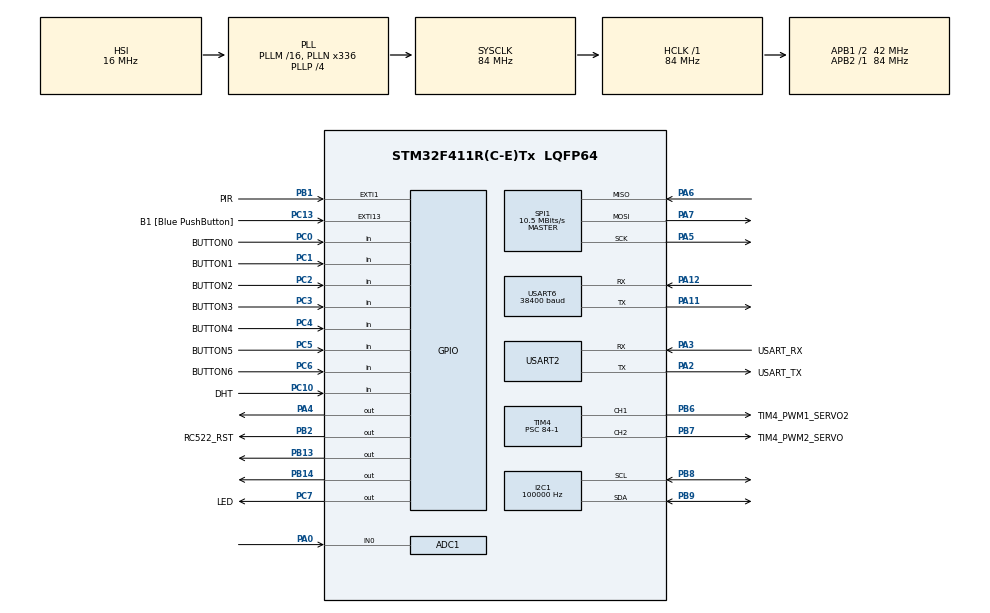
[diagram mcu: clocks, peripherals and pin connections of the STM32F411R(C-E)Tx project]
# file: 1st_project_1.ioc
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ADC1.Channel-1\#ChannelRegularConversion=ADC_CHANNEL_0
ADC1.ClockPrescaler=ADC_CLOCK_SYNC_PCLK_DIV6
ADC1.NbrOfConversion=1
ADC1.NbrOfConversionFlag=1
ADC1.Rank-1\#ChannelRegularConversion=1
ADC1.SamplingTime-1\#ChannelRegularConversion=ADC_SAMPLETIME_84CYCLES
ADC1.ScanConvMode=DISABLE
ADC1.master=1
I2C1.ClockSpeed=100000
Mcu.Family=STM32F4
Mcu.Name=STM32F411R(C-E)Tx
Mcu.Package=LQFP64
NVIC.ADC_IRQn=true\:0\:0\:false\:false\:true\:true\:true\:true
NVIC.EXTI1_IRQn=true\:0\:0\:false\:false\:true\:true\:true\:true
NVIC.PriorityGroup=NVIC_PRIORITYGROUP_0
NVIC.TIM3_IRQn=true\:0\:0\:false\:false\:true\:true\:true\:true
NVIC.TIM4_IRQn=true\:0\:0\:false\:false\:true\:true\:true\:true
NVIC.USART6_IRQn=true\:0\:0\:false\:false\:true\:true\:true\:true
PA0-WKUP.Signal=ADCx_IN0
PA10.Signal=USART1_RX
PA11.Mode=Asynchronous
PA11.Signal=USART6_TX
PA12.Mode=Asynchronous
PA12.Signal=USART6_RX
PA13.GPIO_Label=TMS
PA13.Mode=Serial_Wire
PA13.Signal=SYS_JTMS-SWDIO
PA14.GPIO_Label=TCK
PA14.Mode=Serial_Wire
PA14.Signal=SYS_JTCK-SWCLK
PA2.GPIO_Label=USART_TX
PA2.Mode=Asynchronous
PA2.Signal=USART2_TX
PA3.GPIO_Label=USART_RX
PA3.Mode=Asynchronous
PA3.Signal=USART2_RX
PA4.Signal=GPIO_Output
PA5.Mode=Full_Duplex_Master
PA5.Signal=SPI1_SCK
PA6.Mode=Full_Duplex_Master
PA6.Signal=SPI1_MISO
PA7.Mode=Full_Duplex_Master
PA7.Signal=SPI1_MOSI
PA9.Signal=USART1_TX
PB1.GPIO_Label=PIR
PB1.Signal=GPXTI1
PB13.Signal=GPIO_Output
PB14.Signal=GPIO_Output
PB2.GPIO_Label=RC522_RST
PB2.Signal=GPIO_Output
PB3.GPIO_Label=SWO
PB3.Signal=SYS_JTDO-SWO
PB6.GPIO_Label=TIM4_PWM1_SERVO2
PB6.Signal=S_TIM4_CH1
PB7.GPIO_Label=TIM4_PWM2_SERVO
PB7.Signal=S_TIM4_CH2
PB8.Mode=I2C
PB8.Signal=I2C1_SCL
PB9.Mode=I2C
PB9.Signal=I2C1_SDA
PC0.GPIO_Label=BUTTON0
PC0.Signal=GPIO_Input
PC1.GPIO_Label=BUTTON1
PC1.Signal=GPIO_Input
PC10.GPIO_Label=DHT
PC10.Signal=GPIO_Input
PC13-ANTI_TAMP.GPIO_Label=B1 [Blue PushButton]
PC13-ANTI_TAMP.GPIO_ModeDefaultEXTI=GPIO_MODE_IT_FALLING
PC13-ANTI_TAMP.Signal=GPXTI13
PC14-OSC32_IN.Signal=RCC_OSC32_IN
PC15-OSC32_OUT.Signal=RCC_OSC32_OUT
PC2.GPIO_Label=BUTTON2
PC2.Signal=GPIO_Input
PC3.GPIO_Label=BUTTON3
PC3.Signal=GPIO_Input
PC4.GPIO_Label=BUTTON4
PC4.Signal=GPIO_Input
PC5.GPIO_Label=BUTTON5
PC5.Signal=GPIO_Input
PC6.GPIO_Label=BUTTON6
PC6.Signal=GPIO_Input
PC7.GPIO_Label=LED
PC7.Signal=GPIO_Output
PH0\ -\ OSC_IN.Mode=HSE-External-Oscillator
PH0\ -\ OSC_IN.Signal=RCC_OSC_IN
PH1\ -\ OSC_OUT.Mode=HSE-External-Oscillator
PH1\ -\ OSC_OUT.Signal=RCC_OSC_OUT
ProjectManager.HeapSize=0x200
ProjectManager.StackSize=0x400
ProjectManager.TargetToolchain=STM32CubeIDE
RCC.48MHZClocksFreq_Value=84000000
RCC.AHBFreq_Value=84000000
RCC.APB1CLKDivider=RCC_HCLK_DIV2
RCC.APB1Freq_Value=42000000
RCC.APB1TimFreq_Value=84000000
RCC.APB2Freq_Value=84000000
RCC.APB2TimFreq_Value=84000000
RCC.CortexFreq_Value=84000000
RCC.FLatency-AdvancedSettings=FLASH_LATENCY_2
RCC.HCLKFreq_Value=84000000
RCC.HSE_VALUE=8000000
RCC.HSI_VALUE=16000000
RCC.LSE_VALUE=32768
RCC.PLLN=336
RCC.PLLP=RCC_PLLP_DIV4
RCC.SYSCLKFreq_VALUE=84000000
RCC.SYSCLKSource=RCC_SYSCLKSOURCE_PLLCLK
RCC.VCOOutputFreq_Value=336000000
SH.ADCx_IN0.0=ADC1_IN0,IN0
SH.S_TIM4_CH1.0=TIM4_CH1,PWM Generation1 CH1
SH.S_TIM4_CH2.0=TIM4_CH2,PWM Generation2 CH2
SPI1.BaudRatePrescaler=SPI_BAUDRATEPRESCALER_8
SPI1.CalculateBaudRate=10.5 MBits/s
SPI1.Direction=SPI_DIRECTION_2LINES
SPI1.Mode=SPI_MODE_MASTER
SPI1.VirtualType=VM_MASTER
TIM3.Period=1000-1
TIM3.Prescaler=84-1
TIM4.Channel-PWM\ Generation1\ CH1=TIM_CHANNEL_1
TIM4.Channel-PWM\ Generation2\ CH2=TIM_CHANNEL_2
TIM4.Period=20000-1
TIM4.Prescaler=84-1
TIM4.Pulse-PWM\ Generation1\ CH1=0
USART2.VirtualMode=VM_ASYNC
USART6.BaudRate=38400
USART6.VirtualMode=VM_ASYNC
VP_TIM3_VS_ClockSourceINT.Mode=Internal
board=NUCLEO-F411RE

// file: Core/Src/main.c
/* USER CODE BEGIN Header */
/* USER CODE END Header */
#include "main.h"

/* USER CODE BEGIN Includes */
#include <stdio.h>
#include <string.h>
#include "clcd.h"
#include "mfrc522.h"
#include "esp.h"
#include "dht.h"

/* USER CODE END Includes */

/* USER CODE BEGIN PD */

#define ROOM_NUMBER "101"
#define USER_ID "JTY"
#define USER_NAME "JEONG"
#define USER_CODE "8315D829"

#ifdef __GNUC__
/* With GCC, small printf (option LD Linker->Libraries->Small printf
 set to 'Yes') calls __io_putchar() */
#define PUTCHAR_PROTOTYPE int __io_putchar(int ch)
#else
#define PUTCHAR_PROTOTYPE int fputc(int ch, FILE *f)
#endif /* __GNUC__ */
#define ARR_CNT 5
#define CMD_SIZE 50
/* USER CODE END PD */

ADC_HandleTypeDef hadc1;

I2C_HandleTypeDef hi2c1;

SPI_HandleTypeDef hspi1;

TIM_HandleTypeDef htim3;
TIM_HandleTypeDef htim4;

UART_HandleTypeDef huart2;
UART_HandleTypeDef huart6;

/* USER CODE BEGIN PV */
int last_door_state = -1;  // 초기값은 존재하지 않는 값으로 설정

// esp
uint8_t rx2char;
extern cb_data_t cb_data;
extern volatile unsigned char rx2Flag;
extern volatile char rx2Data[50];

static int ret = 0;
DHT11_TypeDef dht11Data;
static char buff[30];

// room_info 구조체
typedef struct {
	int room_number;
	char user_name[20];
} ROOM_INFO;

typedef struct {
	char room_status[17]; // IN, LEC, VAC, MTG, BRK, OUT
} ROOM_STATUS;

ROOM_INFO room_info = { 101, "JEONG" };
ROOM_STATUS current_room_status = { "TagCard&PushBTN" };

// button
const uint16_t button_pins[6] = { BUTTON0_Pin, BUTTON1_Pin, BUTTON2_Pin,
BUTTON3_Pin, BUTTON4_Pin, BUTTON5_Pin };
int button_state[6] = { 0 };
int last_button_state[6] = { 0 };
int button_flag[6] = { 0 };

// lcd
char line1[18] = { '\0' };
char line2[18] = { '\0' };

// timer3
static volatile int tim3Flag1Sec = 0;
static volatile unsigned int tim3Sec = 0;
static volatile int tim3Flag5Sec = 0;

// RFID
uint8_t cardID[5];
char uid_str[16];
static volatile int authentication_flag = 0;
static volatile int auth_start_time = -1; // 인증 시작 시점의 tim3Sec 저장

// esp
static int i = 0;
static char *pToken;
static char *pArray[ARR_CNT] = { 0 };
static char sendBuf[MAX_UART_COMMAND_LEN] = { 0 };

typedef struct {
	char *client;
	char *door;
} BUFFF;

static BUFFF ppAArray = { 0 };

typedef struct {
	char *cclient;
	char *ssetroom;
	char *rroom;
	char *sstatus;
} BBUFFF;

static BBUFFF pppAAArray = { 0 };

// SERVO(DOOR LOCK)
int door_pulse = 0;
int door_state;  // 1: unlock 0: lock

// pir
static volatile int pir_flag = 0;

// dht
static int last_fanFlag = 0;
static int fanFlag = 0;

// ADC servo2
__IO uint16_t ADC1ConvertValue = 0;
__IO uint16_t adcFlag = 0;
static int curtainFlag = 0;
static int last_curtainFlag = 0;
static int curtain_pulse = 0;

// DHT
static char dhtbuff[30];
static int last_checked_sec = 0;
DHT11_TypeDef dht11Data;
/* USER CODE END PV */

void SystemClock_Config(void);
static void MX_GPIO_Init(void);
static void MX_USART2_UART_Init(void);
static void MX_ADC1_Init(void);
static void MX_TIM3_Init(void);
static void MX_USART6_UART_Init(void);
static void MX_I2C1_Init(void);
static void MX_SPI1_Init(void);
static void MX_TIM4_Init(void);
/* USER CODE BEGIN PFP */
// authenicatin timeout
void authentication_timeout();
// detect
void detect();

// ESP
void esp_init();

char strBuff[MAX_ESP_COMMAND_LEN];

void room_status_set();
void room_status_display();
void user_authentication();

void esp_event(char*);

void PIR_Init(void);

//dht
void dht_status_motor();

//cds
void cds_status_servo();
/* USER CODE END PFP */

int main(void) {

	/* USER CODE BEGIN 1 */
	// SERVO
	/* USER CODE END 1 */

	/* MCU Configuration--------------------------------------------------------*/

	/* Reset of all peripherals, Initializes the Flash interface and the Systick. */
	HAL_Init();

	/* Configure the system clock */
	SystemClock_Config();

	/* Initialize all configured peripherals */
	MX_GPIO_Init();
	MX_USART2_UART_Init();
	MX_ADC1_Init();
	MX_TIM3_Init();
	MX_USART6_UART_Init();
	MX_I2C1_Init();
	MX_SPI1_Init();
	MX_TIM4_Init();
	/* USER CODE BEGIN 2 */

	// TIMER 4
	if (HAL_TIM_Base_Start_IT(&htim4) != HAL_OK)
		Error_Handler();
	if (HAL_TIM_PWM_Start(&htim4, TIM_CHANNEL_1) != HAL_OK)
		Error_Handler();
	if (HAL_TIM_PWM_Start(&htim4, TIM_CHANNEL_2) != HAL_OK)
		Error_Handler();

	// ESP
	printf("Start main() - wifi\r\n");
	ret |= drv_uart_init();
	ret |= drv_esp_init();
	if (ret != 0) {
		printf("Esp response error\r\n");
		Error_Handler();
	}

	AiotClient_Init();
	// DHT
	DHT11_Init();

	if (HAL_TIM_Base_Start_IT(&htim3) != HAL_OK)
		Error_Handler();
	// LCD
	LCD_init(&hi2c1);
	LCD_writeStringXY(0, 0, "hello lcd");

	// RFID
	MFRC522_Init();                               // RC522 초기화
	uint8_t version = MFRC522_ReadRegister(0x37); // VersionReg
	printf("RC522 Version: 0x%02X\r\n", version);
	printf("카드를 인식해주세요\r\n");

	//PIR
	PIR_Init();

	//ADC
	if (HAL_ADC_Start_IT(&hadc1) != HAL_OK)
		Error_Handler();

	/* USER CODE END 2 */

	/* Infinite loop */
	/* USER CODE BEGIN WHILE */
	while (1) {
		if (strstr((char*) cb_data.buf, "+IPD")
				&& cb_data.buf[cb_data.length - 1] == '\n') {
			//?��?��?���??  \r\n+IPD,15:[KSH_LIN]HELLO\n
			strcpy(strBuff, strchr((char*) cb_data.buf, '['));
			memset(cb_data.buf, 0x0, sizeof(cb_data.buf));
			cb_data.length = 0;
			esp_event(strBuff);
		}
		if (rx2Flag) {
			printf("recv2 : %s\r\n", rx2Data);
			rx2Flag = 0;
		}

		room_status_display();
		user_authentication();
		authentication_timeout();

		if (door_state != last_door_state) {
			if (door_state == 1) {
				door_pulse = 1500;
				printf("UNLOCK!!\r\n");
			} else {
				door_pulse = 500;
				printf("LOCK!!\r\n");
			}
			last_door_state = door_state;
		}
		__HAL_TIM_SetCompare(&htim4, TIM_CHANNEL_2, door_pulse - 1);

		room_status_set();
		detect();

		// DHT, DC
		if (door_state == 1) {

			if (tim3Sec % 5 == 0 && tim3Sec != last_checked_sec) //5초에 한번 실행되게
					{
				dht_status_motor(); // 한번 실행
				cds_status_servo();
				last_checked_sec = tim3Sec; // 재실행 방지용
			}
		}
	}
	/* USER CODE END WHILE */

}

void SystemClock_Config(void) {
	RCC_OscInitTypeDef RCC_OscInitStruct = { 0 };
	RCC_ClkInitTypeDef RCC_ClkInitStruct = { 0 };

	/** Configure the main internal regulator output voltage
	 */
	__HAL_RCC_PWR_CLK_ENABLE();
	__HAL_PWR_VOLTAGESCALING_CONFIG(PWR_REGULATOR_VOLTAGE_SCALE1);

	/** Initializes the RCC Oscillators according to the specified parameters
	 * in the RCC_OscInitTypeDef structure.
	 */
	RCC_OscInitStruct.OscillatorType = RCC_OSCILLATORTYPE_HSI;
	RCC_OscInitStruct.HSIState = RCC_HSI_ON;
	RCC_OscInitStruct.HSICalibrationValue = RCC_HSICALIBRATION_DEFAULT;
	RCC_OscInitStruct.PLL.PLLState = RCC_PLL_ON;
	RCC_OscInitStruct.PLL.PLLSource = RCC_PLLSOURCE_HSI;
	RCC_OscInitStruct.PLL.PLLM = 16;
	RCC_OscInitStruct.PLL.PLLN = 336;
	RCC_OscInitStruct.PLL.PLLP = RCC_PLLP_DIV4;
	RCC_OscInitStruct.PLL.PLLQ = 4;
	if (HAL_RCC_OscConfig(&RCC_OscInitStruct) != HAL_OK) {
		Error_Handler();
	}

	/** Initializes the CPU, AHB and APB buses clocks
	 */
	RCC_ClkInitStruct.ClockType = RCC_CLOCKTYPE_HCLK | RCC_CLOCKTYPE_SYSCLK
			| RCC_CLOCKTYPE_PCLK1 | RCC_CLOCKTYPE_PCLK2;
	RCC_ClkInitStruct.SYSCLKSource = RCC_SYSCLKSOURCE_PLLCLK;
	RCC_ClkInitStruct.AHBCLKDivider = RCC_SYSCLK_DIV1;
	RCC_ClkInitStruct.APB1CLKDivider = RCC_HCLK_DIV2;
	RCC_ClkInitStruct.APB2CLKDivider = RCC_HCLK_DIV1;

	if (HAL_RCC_ClockConfig(&RCC_ClkInitStruct, FLASH_LATENCY_2) != HAL_OK) {
		Error_Handler();
	}
}

static void MX_ADC1_Init(void) {

	ADC_ChannelConfTypeDef sConfig = { 0 };

	/** Configure the global features of the ADC (Clock, Resolution, Data Alignment and number of conversion)
	 */
	hadc1.Instance = ADC1;
	hadc1.Init.ClockPrescaler = ADC_CLOCK_SYNC_PCLK_DIV6;
	hadc1.Init.Resolution = ADC_RESOLUTION_12B;
	hadc1.Init.ScanConvMode = DISABLE;
	hadc1.Init.ContinuousConvMode = DISABLE;
	hadc1.Init.DiscontinuousConvMode = DISABLE;
	hadc1.Init.ExternalTrigConvEdge = ADC_EXTERNALTRIGCONVEDGE_NONE;
	hadc1.Init.ExternalTrigConv = ADC_SOFTWARE_START;
	hadc1.Init.DataAlign = ADC_DATAALIGN_RIGHT;
	hadc1.Init.NbrOfConversion = 1;
	hadc1.Init.DMAContinuousRequests = DISABLE;
	hadc1.Init.EOCSelection = ADC_EOC_SINGLE_CONV;
	if (HAL_ADC_Init(&hadc1) != HAL_OK) {
		Error_Handler();
	}

	/** Configure for the selected ADC regular channel its corresponding rank in the sequencer and its sample time.
	 */
	sConfig.Channel = ADC_CHANNEL_0;
	sConfig.Rank = 1;
	sConfig.SamplingTime = ADC_SAMPLETIME_84CYCLES;
	if (HAL_ADC_ConfigChannel(&hadc1, &sConfig) != HAL_OK) {
		Error_Handler();
	}

}

static void MX_I2C1_Init(void) {

	hi2c1.Instance = I2C1;
	hi2c1.Init.ClockSpeed = 100000;
	hi2c1.Init.DutyCycle = I2C_DUTYCYCLE_2;
	hi2c1.Init.OwnAddress1 = 0;
	hi2c1.Init.AddressingMode = I2C_ADDRESSINGMODE_7BIT;
	hi2c1.Init.DualAddressMode = I2C_DUALADDRESS_DISABLE;
	hi2c1.Init.OwnAddress2 = 0;
	hi2c1.Init.GeneralCallMode = I2C_GENERALCALL_DISABLE;
	hi2c1.Init.NoStretchMode = I2C_NOSTRETCH_DISABLE;
	if (HAL_I2C_Init(&hi2c1) != HAL_OK) {
		Error_Handler();
	}

}

static void MX_SPI1_Init(void) {

	/* SPI1 parameter configuration*/
	hspi1.Instance = SPI1;
	hspi1.Init.Mode = SPI_MODE_MASTER;
	hspi1.Init.Direction = SPI_DIRECTION_2LINES;
	hspi1.Init.DataSize = SPI_DATASIZE_8BIT;
	hspi1.Init.CLKPolarity = SPI_POLARITY_LOW;
	hspi1.Init.CLKPhase = SPI_PHASE_1EDGE;
	hspi1.Init.NSS = SPI_NSS_SOFT;
	hspi1.Init.BaudRatePrescaler = SPI_BAUDRATEPRESCALER_8;
	hspi1.Init.FirstBit = SPI_FIRSTBIT_MSB;
	hspi1.Init.TIMode = SPI_TIMODE_DISABLE;
	hspi1.Init.CRCCalculation = SPI_CRCCALCULATION_DISABLE;
	hspi1.Init.CRCPolynomial = 10;
	if (HAL_SPI_Init(&hspi1) != HAL_OK) {
		Error_Handler();
	}

}

static void MX_TIM3_Init(void) {

	TIM_ClockConfigTypeDef sClockSourceConfig = { 0 };
	TIM_MasterConfigTypeDef sMasterConfig = { 0 };

	htim3.Instance = TIM3;
	htim3.Init.Prescaler = 84 - 1;
	htim3.Init.CounterMode = TIM_COUNTERMODE_UP;
	htim3.Init.Period = 1000 - 1;
	htim3.Init.ClockDivision = TIM_CLOCKDIVISION_DIV1;
	htim3.Init.AutoReloadPreload = TIM_AUTORELOAD_PRELOAD_DISABLE;
	if (HAL_TIM_Base_Init(&htim3) != HAL_OK) {
		Error_Handler();
	}
	sClockSourceConfig.ClockSource = TIM_CLOCKSOURCE_INTERNAL;
	if (HAL_TIM_ConfigClockSource(&htim3, &sClockSourceConfig) != HAL_OK) {
		Error_Handler();
	}
	sMasterConfig.MasterOutputTrigger = TIM_TRGO_RESET;
	sMasterConfig.MasterSlaveMode = TIM_MASTERSLAVEMODE_DISABLE;
	if (HAL_TIMEx_MasterConfigSynchronization(&htim3, &sMasterConfig)
			!= HAL_OK) {
		Error_Handler();
	}

}

static void MX_TIM4_Init(void) {

	TIM_MasterConfigTypeDef sMasterConfig = { 0 };
	TIM_OC_InitTypeDef sConfigOC = { 0 };

	htim4.Instance = TIM4;
	htim4.Init.Prescaler = 84 - 1;
	htim4.Init.CounterMode = TIM_COUNTERMODE_UP;
	htim4.Init.Period = 20000 - 1;
	htim4.Init.ClockDivision = TIM_CLOCKDIVISION_DIV1;
	htim4.Init.AutoReloadPreload = TIM_AUTORELOAD_PRELOAD_DISABLE;
	if (HAL_TIM_PWM_Init(&htim4) != HAL_OK) {
		Error_Handler();
	}
	sMasterConfig.MasterOutputTrigger = TIM_TRGO_RESET;
	sMasterConfig.MasterSlaveMode = TIM_MASTERSLAVEMODE_DISABLE;
	if (HAL_TIMEx_MasterConfigSynchronization(&htim4, &sMasterConfig)
			!= HAL_OK) {
		Error_Handler();
	}
	sConfigOC.OCMode = TIM_OCMODE_PWM1;
	sConfigOC.Pulse = 0;
	sConfigOC.OCPolarity = TIM_OCPOLARITY_HIGH;
	sConfigOC.OCFastMode = TIM_OCFAST_DISABLE;
	if (HAL_TIM_PWM_ConfigChannel(&htim4, &sConfigOC, TIM_CHANNEL_1)
			!= HAL_OK) {
		Error_Handler();
	}
	if (HAL_TIM_PWM_ConfigChannel(&htim4, &sConfigOC, TIM_CHANNEL_2)
			!= HAL_OK) {
		Error_Handler();
	}
	HAL_TIM_MspPostInit(&htim4);

}

static void MX_USART2_UART_Init(void) {

	huart2.Instance = USART2;
	huart2.Init.BaudRate = 115200;
	huart2.Init.WordLength = UART_WORDLENGTH_8B;
	huart2.Init.StopBits = UART_STOPBITS_1;
	huart2.Init.Parity = UART_PARITY_NONE;
	huart2.Init.Mode = UART_MODE_TX_RX;
	huart2.Init.HwFlowCtl = UART_HWCONTROL_NONE;
	huart2.Init.OverSampling = UART_OVERSAMPLING_16;
	if (HAL_UART_Init(&huart2) != HAL_OK) {
		Error_Handler();
	}

}

static void MX_USART6_UART_Init(void) {

	huart6.Instance = USART6;
	huart6.Init.BaudRate = 38400;
	huart6.Init.WordLength = UART_WORDLENGTH_8B;
	huart6.Init.StopBits = UART_STOPBITS_1;
	huart6.Init.Parity = UART_PARITY_NONE;
	huart6.Init.Mode = UART_MODE_TX_RX;
	huart6.Init.HwFlowCtl = UART_HWCONTROL_NONE;
	huart6.Init.OverSampling = UART_OVERSAMPLING_16;
	if (HAL_UART_Init(&huart6) != HAL_OK) {
		Error_Handler();
	}

}

static void MX_GPIO_Init(void) {
	GPIO_InitTypeDef GPIO_InitStruct = { 0 };

	/* GPIO Ports Clock Enable */
	__HAL_RCC_GPIOC_CLK_ENABLE();
	__HAL_RCC_GPIOH_CLK_ENABLE();
	__HAL_RCC_GPIOA_CLK_ENABLE();
	__HAL_RCC_GPIOB_CLK_ENABLE();

	/*Configure GPIO pin Output Level */
	HAL_GPIO_WritePin(GPIOA, GPIO_PIN_4, GPIO_PIN_RESET);

	/*Configure GPIO pin Output Level */
	HAL_GPIO_WritePin(GPIOB, RC522_RST_Pin | GPIO_PIN_13 | GPIO_PIN_14,
			GPIO_PIN_RESET);

	/*Configure GPIO pin Output Level */
	HAL_GPIO_WritePin(LED_GPIO_Port, LED_Pin, GPIO_PIN_RESET);

	/*Configure GPIO pin : B1_Pin */
	GPIO_InitStruct.Pin = B1_Pin;
	GPIO_InitStruct.Mode = GPIO_MODE_IT_FALLING;
	GPIO_InitStruct.Pull = GPIO_NOPULL;
	HAL_GPIO_Init(B1_GPIO_Port, &GPIO_InitStruct);

	/*Configure GPIO pins : BUTTON0_Pin BUTTON1_Pin BUTTON2_Pin BUTTON3_Pin
	 BUTTON4_Pin BUTTON5_Pin BUTTON6_Pin DHT_Pin */
	GPIO_InitStruct.Pin = BUTTON0_Pin | BUTTON1_Pin | BUTTON2_Pin | BUTTON3_Pin
			| BUTTON4_Pin | BUTTON5_Pin | BUTTON6_Pin | DHT_Pin;
	GPIO_InitStruct.Mode = GPIO_MODE_INPUT;
	GPIO_InitStruct.Pull = GPIO_NOPULL;
	HAL_GPIO_Init(GPIOC, &GPIO_InitStruct);

	/*Configure GPIO pin : PA4 */
	GPIO_InitStruct.Pin = GPIO_PIN_4;
	GPIO_InitStruct.Mode = GPIO_MODE_OUTPUT_PP;
	GPIO_InitStruct.Pull = GPIO_NOPULL;
	GPIO_InitStruct.Speed = GPIO_SPEED_FREQ_LOW;
	HAL_GPIO_Init(GPIOA, &GPIO_InitStruct);

	/*Configure GPIO pin : PIR_Pin */
	GPIO_InitStruct.Pin = PIR_Pin;
	GPIO_InitStruct.Mode = GPIO_MODE_IT_RISING;
	GPIO_InitStruct.Pull = GPIO_NOPULL;
	HAL_GPIO_Init(PIR_GPIO_Port, &GPIO_InitStruct);

	/*Configure GPIO pins : RC522_RST_Pin PB13 PB14 */
	GPIO_InitStruct.Pin = RC522_RST_Pin | GPIO_PIN_13 | GPIO_PIN_14;
	GPIO_InitStruct.Mode = GPIO_MODE_OUTPUT_PP;
	GPIO_InitStruct.Pull = GPIO_NOPULL;
	GPIO_InitStruct.Speed = GPIO_SPEED_FREQ_LOW;
	HAL_GPIO_Init(GPIOB, &GPIO_InitStruct);

	/*Configure GPIO pin : LED_Pin */
	GPIO_InitStruct.Pin = LED_Pin;
	GPIO_InitStruct.Mode = GPIO_MODE_OUTPUT_PP;
	GPIO_InitStruct.Pull = GPIO_NOPULL;
	GPIO_InitStruct.Speed = GPIO_SPEED_FREQ_LOW;
	HAL_GPIO_Init(LED_GPIO_Port, &GPIO_InitStruct);

	/*Configure GPIO pins : PA9 PA10 */
	GPIO_InitStruct.Pin = GPIO_PIN_9 | GPIO_PIN_10;
	GPIO_InitStruct.Mode = GPIO_MODE_AF_PP;
	GPIO_InitStruct.Pull = GPIO_NOPULL;
	GPIO_InitStruct.Speed = GPIO_SPEED_FREQ_VERY_HIGH;
	GPIO_InitStruct.Alternate = GPIO_AF7_USART1;
	HAL_GPIO_Init(GPIOA, &GPIO_InitStruct);

	/* EXTI interrupt init*/
	HAL_NVIC_SetPriority(EXTI1_IRQn, 0, 0);
	HAL_NVIC_EnableIRQ(EXTI1_IRQn);

}

/* USER CODE BEGIN 4 */

void HAL_TIM_PeriodElapsedCallback(TIM_HandleTypeDef *htim) // 1ms 마다 호출
{
	static int tim3Cnt = 0;
	tim3Cnt++;
	if (tim3Cnt >= 1000) { // 1ms * 1000 = 1Sec
		tim3Flag1Sec = 1;
		tim3Sec++;
		tim3Cnt = 0;
	}
	if (tim3Sec % 5 == 0) {
		tim3Flag5Sec = 1;
	}
}

void room_status_set() {
	for (int i = 0; i < 6; i++) {
		button_state[i] = HAL_GPIO_ReadPin(GPIOC, button_pins[i]);

		if (last_button_state[i] == 0 && button_state[i] == 1
				&& authentication_flag == 1) {
			switch (i) {
			case 0:
				printf("button : %d\r\n", i);
				sprintf(current_room_status.room_status, "%s",
						"In Room        ");
				sprintf(sendBuf, "[PRJ_SQL]SETROOM@%s@IN\n", ROOM_NUMBER);
				esp_send_data(sendBuf);
				HAL_GPIO_WritePin(LED_GPIO_Port, LED_Pin, GPIO_PIN_SET);
				door_state = 1;
				break;
			case 1:
				printf("button : %d\r\n", i);
				sprintf(current_room_status.room_status, "%s",
						"Lecture        ");
				sprintf(sendBuf, "[PRJ_SQL]SETROOM@%s@LEC\n", ROOM_NUMBER);
				esp_send_data(sendBuf);
				HAL_GPIO_WritePin(LED_GPIO_Port, LED_Pin, GPIO_PIN_RESET);
				door_state = 0;
				break;
			case 2:
				printf("button : %d\r\n", i);
				sprintf(current_room_status.room_status, "%s",
						"Vacation       ");
				sprintf(sendBuf, "[PRJ_SQL]SETROOM@%s@VAC\n", ROOM_NUMBER);
				esp_send_data(sendBuf);
				HAL_GPIO_WritePin(LED_GPIO_Port, LED_Pin, GPIO_PIN_RESET);
				door_state = 0;
				break;
			case 3:
				printf("button : %d\r\n", i);
				sprintf(current_room_status.room_status, "%s",
						"Meeting        ");
				sprintf(sendBuf, "[PRJ_SQL]SETROOM@%s@MTG\n", ROOM_NUMBER);
				esp_send_data(sendBuf);
				HAL_GPIO_WritePin(LED_GPIO_Port, LED_Pin, GPIO_PIN_RESET);
				door_state = 0;
				break;
			case 4:
				printf("button : %d\r\n", i);
				sprintf(current_room_status.room_status, "%s",
						"Break          ");
				sprintf(sendBuf, "[PRJ_SQL]SETROOM@%s@BRK\n", ROOM_NUMBER);
				esp_send_data(sendBuf);
				HAL_GPIO_WritePin(LED_GPIO_Port, LED_Pin, GPIO_PIN_RESET);
				door_state = 0;
				break;
			case 5:
				printf("button : %d\r\n", i);
				sprintf(current_room_status.room_status, "%s",
						"Off Work       ");
				sprintf(sendBuf, "[PRJ_SQL]SETROOM@%s@OUT\n", ROOM_NUMBER);
				esp_send_data(sendBuf);
				HAL_GPIO_WritePin(LED_GPIO_Port, LED_Pin, GPIO_PIN_RESET);
				door_state = 0;
				break;
			}
		}

		last_button_state[i] = button_state[i];
	}
}

void room_status_display() {

	sprintf(line1, "%s - %s", ROOM_NUMBER, USER_NAME);
	// sprintf(line2, "%s", "LEC");
	sprintf(line2, "%s", current_room_status.room_status);

	LCD_writeStringXY(0, 0, line1);
	LCD_writeStringXY(1, 0, line2);
}

//void user_authentication() {
//	if (MFRC522_Check(cardID) == MI_OK) {
//		sprintf(uid_str, "%02X%02X%02X%02X", cardID[0], cardID[1], cardID[2],
//				cardID[3]);
//		printf("Card UID: %s\r\n", uid_str);
//
//		if (strcmp(uid_str, USER_CODE) == 0) {
//			authentication_flag = 1;
//			auth_start_time = tim3Sec; // 현재 시간을 저장
//			printf("인증성공!\r\n");
//			sprintf(line2, "%s", "Success!!");
//			LCD_writeStringXY(1, 0, line2);
//		} else {
//			authentication_flag = 0;
//			auth_start_time = -1;
//			printf("인증실패!\r\n");
//			sprintf(line2, "%s", "Failed!!");
//			LCD_writeStringXY(1, 0, line2);
//		}
//	}
//}

void user_authentication() {
	if (MFRC522_Check(cardID) == MI_OK) {
		sprintf(uid_str, "%02X%02X%02X%02X", cardID[0], cardID[1], cardID[2],
				cardID[3]);
		printf("Card UID: %s\r\n", uid_str);

		// SQL 클라이언트로 인증 요청 전송
		sprintf(sendBuf, "[PRJ_SQL]CERT@%s@%s\n", ROOM_NUMBER, uid_str);
		esp_send_data(sendBuf);
		printf("Send to SQL client: %s\r\n", sendBuf);

		// 응답 대기 타이머 시작
		int wait_start_time = tim3Sec;
		int timeout_sec = 2;  // 최대 대기 시간 (초)

		while ((tim3Sec - wait_start_time) < timeout_sec) {
			if (strstr((char*) cb_data.buf, "[PRJ_SQL]CERT@OK")) {
				authentication_flag = 1;
				auth_start_time = tim3Sec;
				printf("인증성공!\r\n");
				sprintf(line2, "%s", "Success!!");
				LCD_writeStringXY(1, 0, line2);

				goto auth_done;
			} else if (strstr((char*) cb_data.buf, "[PRJ_SQL]CERT@NO")) {
				authentication_flag = 0;
				auth_start_time = -1;
				printf("인증실패!\r\n");
				sprintf(line2, "%s", "Failed!!");
				LCD_writeStringXY(1, 0, line2);

				goto auth_done;
			}
		}

		// 응답 없음 (타임아웃)
		authentication_flag = 0;
		auth_start_time = -1;
		printf("인증응답 없음!\r\n");
		sprintf(line2, "%s", "No Resp!!");
		LCD_writeStringXY(1, 0, line2);

		auth_done:
		// 수신 버퍼 정리
		memset(cb_data.buf, 0, sizeof(cb_data.buf));
		cb_data.length = 0;
	}
}

void esp_event(char *recvBuf) {
	int i = 0;
	char *pToken;
	char *pArray[ARR_CNT] = { 0 };
	char sendBuf[MAX_UART_COMMAND_LEN] = { 0 };

	strBuff[strlen(recvBuf) - 1] = '\0'; //'\n' cut
	printf("\r\nDebug recv : %s\r\n", recvBuf);

	pToken = strtok(recvBuf, "[@]");
	while (pToken != NULL) {
		pArray[i] = pToken;
		if (++i >= ARR_CNT)
			break;
		pToken = strtok(NULL, "[@]");
	}

	for (int j = 0; j < i; j++) {
		if (pArray[j] == NULL) {
			printf("Warning: NULL in pArray[%d]\r\n", j);
			return;
		}
	}

	if (i < 2) {
		printf("Parsing error: too few tokens (%d)\r\n", i);
		return;
	}

	if (i == 2) {
		ppAArray.client = pArray[0];
		ppAArray.door = pArray[1];

		if (!strcmp(pArray[1], "UNLOCK")) {
			sprintf(sendBuf, "[%s]%s\r\n", "PRJ_SQL", ppAArray.door);
			door_state = 1;
		}
	}

	else if (i == 4) {

		pppAAArray.cclient = pArray[0];
		pppAAArray.ssetroom = pArray[1];
		pppAAArray.rroom = pArray[2];
		pppAAArray.sstatus = pArray[3];

		if (!strcmp(pppAAArray.ssetroom, "SETROOM")
				&& !strcmp(pppAAArray.rroom, ROOM_NUMBER)) {

			if (!strcmp(pppAAArray.sstatus, "IN")) {
				sprintf(current_room_status.room_status, "%s",
						"In Room        ");
				HAL_GPIO_WritePin(LED_GPIO_Port, LED_Pin, GPIO_PIN_SET);
				door_state = 1;

			} else if (!strcmp(pppAAArray.sstatus, "LEC")) {
				sprintf(current_room_status.room_status, "%s",
						"Lecture        ");
				HAL_GPIO_WritePin(LED_GPIO_Port, LED_Pin, GPIO_PIN_RESET);
				door_state = 0;

			} else if (!strcmp(pppAAArray.sstatus, "VAC")) {
				sprintf(current_room_status.room_status, "%s",
						"Vacation       ");
				HAL_GPIO_WritePin(LED_GPIO_Port, LED_Pin, GPIO_PIN_RESET);
				door_state = 0;

			} else if (!strcmp(pppAAArray.sstatus, "MTG")) {
				sprintf(current_room_status.room_status, "%s",
						"Meeting        ");
				HAL_GPIO_WritePin(LED_GPIO_Port, LED_Pin, GPIO_PIN_RESET);
				door_state = 0;

			} else if (!strcmp(pppAAArray.sstatus, "BRK")) {
				sprintf(current_room_status.room_status, "%s",
						"Break          ");
				HAL_GPIO_WritePin(LED_GPIO_Port, LED_Pin, GPIO_PIN_RESET);
				door_state = 0;

			} else if (!strcmp(pppAAArray.sstatus, "OUT")) {
				printf("out!!!!!!!\r\n");
				sprintf(current_room_status.room_status, "%s",
						"Off Work       ");
				HAL_GPIO_WritePin(LED_GPIO_Port, LED_Pin, GPIO_PIN_RESET);
				door_state = 0;
			} else {
				// 처리할 수 없는 상태일 경우 무시
				return;
			}

			sprintf(sendBuf, "[PRJ_SQL]%s@%s@%s@%s\r\n", pppAAArray.ssetroom,
					pppAAArray.rroom, pppAAArray.sstatus, pppAAArray.cclient);
			printf("client = %s\r\n", pppAAArray.cclient);
		}

	}

	else if (!strncmp(pArray[1], " New conn", 8)) {
		//	   printf("Debug : %s, %s\r\n",pArray[0],pArray[1]);
		return;
	} else if (!strncmp(pArray[1], " Already log", 8)) {
		// 	    printf("Debug : %s, %s\r\n",pArray[0],pArray[1]);
		esp_client_conn();
		return;
	} else
		return;

	esp_send_data(sendBuf);
	printf("Debug send : %s\r\n", sendBuf);
}

// pir
void HAL_GPIO_EXTI_Callback(uint16_t GPIO_Pin) {
	if (GPIO_Pin == PIR_Pin) {

		pir_flag = 1;

	}
}

void PIR_Init(void) {
	GPIO_InitTypeDef GPIO_InitStruct = { 0 };

	__HAL_RCC_GPIOB_CLK_ENABLE();

	GPIO_InitStruct.Pin = PIR_Pin;
	GPIO_InitStruct.Mode = GPIO_MODE_IT_RISING;
	GPIO_InitStruct.Pull = GPIO_NOPULL;
	HAL_GPIO_Init(PIR_GPIO_Port, &GPIO_InitStruct);

	HAL_NVIC_SetPriority(EXTI1_IRQn, 0, 0);
	HAL_NVIC_EnableIRQ(EXTI1_IRQn);
}

void HAL_ADC_ConvCpltCallback(ADC_HandleTypeDef *hadc) {
	if (hadc->Instance == ADC1) {
		ADC1ConvertValue = HAL_ADC_GetValue(hadc);
		adcFlag = 1;                     // 메인 루프에 알림
	}
}

void dht_status_motor() {
	dht11Data = DHT11_readData();
	if (dht11Data.rh_byte1 != 255) {
		sprintf(dhtbuff, "h: %d%% t: %d.%d'C", dht11Data.rh_byte1,
				dht11Data.temp_byte1, dht11Data.temp_byte2);
		printf("%s\r\n", dhtbuff);
		printf("dht11Data.rh_byte1 = %d \r\n", dht11Data.rh_byte1);

		if (dht11Data.rh_byte1 >= 60 || dht11Data.temp_byte1 > 30)
			fanFlag = 1;
		else
			fanFlag = 0;

		if (fanFlag != last_fanFlag) {
			if (fanFlag == 1) {
				HAL_GPIO_WritePin(GPIOB, GPIO_PIN_15, GPIO_PIN_SET);
				HAL_GPIO_WritePin(GPIOB, GPIO_PIN_13, GPIO_PIN_SET);
				HAL_GPIO_WritePin(GPIOB, GPIO_PIN_14, GPIO_PIN_RESET);
				printf("fan on!!\r\n");
			} else if (fanFlag == 0) {
				HAL_GPIO_WritePin(GPIOB, GPIO_PIN_15, GPIO_PIN_RESET);
				HAL_GPIO_WritePin(GPIOB, GPIO_PIN_13, GPIO_PIN_RESET);
				HAL_GPIO_WritePin(GPIOB, GPIO_PIN_14, GPIO_PIN_RESET);
				printf("fan off!!\r\n");
			}
			last_fanFlag = fanFlag;
		}
	} else
		printf("DHT11 response error\r\n");

}

void cds_status_servo() {
	//ADC
	if (adcFlag) {
		adcFlag = 0;
		if (ADC1ConvertValue > 1500) {
			curtainFlag = 1;
		} else {
			curtainFlag = 0;
		}
		printf("CDS : %d\r\n", ADC1ConvertValue);

		HAL_ADC_Start_IT(&hadc1);   // 다음 변환 시작
	}

	if (curtainFlag != last_curtainFlag) {
		if (curtainFlag == 1) {
			curtain_pulse = 500;
			printf("curtain on!!\r\n");
		} else if (curtainFlag == 0) {
			curtain_pulse = 1500;
			printf("curtain off!!\r\n");
		}
		last_curtainFlag = curtainFlag;
	}
	__HAL_TIM_SetCompare(&htim4, TIM_CHANNEL_1, curtain_pulse - 1);
}

void detect() {
	if (pir_flag == 1 && door_state == 0) {
		pir_flag = 0;
		printf("움직임 감지됨!\r\n");
		sprintf(sendBuf, "[PRJ_CEN]DETECTED@101\r\n");
		esp_send_data(sendBuf);
	}
}

void authentication_timeout() {

	// 10초 경과 확인
	if (authentication_flag == 1 && (tim3Sec - auth_start_time >= 10)) {
		authentication_flag = 0;
		auth_start_time = -1;
		printf("인증시간 초과\r\n");
		sprintf(line2, "%s", "Time Over");
		LCD_writeStringXY(1, 0, line2);
	}
}
/* USER CODE END 4 */

void Error_Handler(void) {
}
